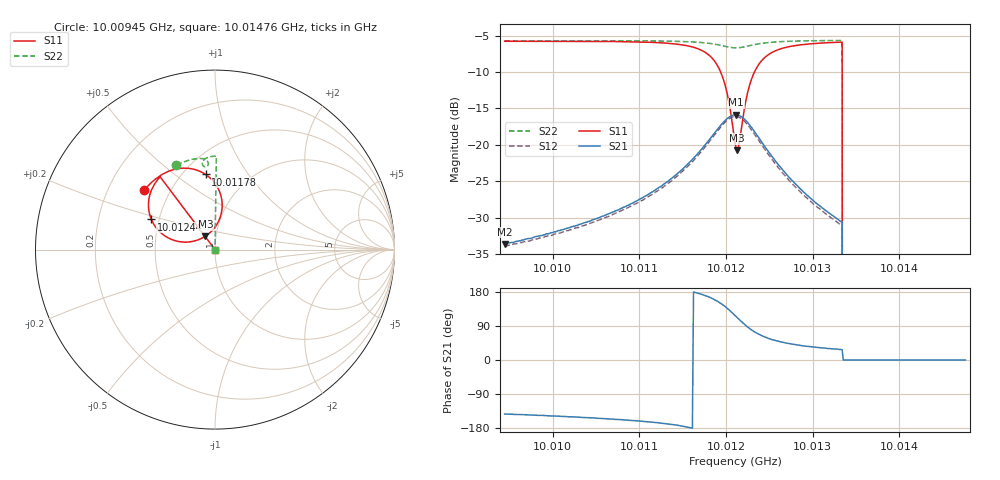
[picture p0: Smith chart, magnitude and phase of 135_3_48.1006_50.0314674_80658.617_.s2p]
#  HZ  S  RI  R  50.00
! Rohde & Schwarz Vector Network Analyzer
! Rohde-Schwarz,ZNB20-2Port,1311601062101988,3.16
! Created: UTC 12/23/2023, 3:48:11 AM
! freq[Hz]  re:S11  im:S11  re:S21  im:S21  re:S12  im:S12  re:S22  im:S22
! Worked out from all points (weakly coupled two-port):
!   401 points, 10.00945 GHz to 10.01476 GHz, reference 50 ohm
!   highest |S21| = -15.87 dB at 10.01212 GHz (marker M1); lowest = -33.6 dB at 10.00945 GHz (marker M2)
!   lowest |S11| = -20.7 dB at 10.01213 GHz (marker M3), VSWR 1.20, Z = 44.4 + j6.68 ohm
!   |S11| at or under -10 dB: 10.01194 GHz to 10.01233 GHz (390 kHz wide, 0.0039 % of centre); 10.01334 GHz to end of sweep
!   |S22| runs from - to -5.7 dB; largest |S21 - S12| = 0.0078
!   S11 on the Smith chart (normalised r, x): 10.00945 GHz: 0.36, +0.32; 10.01178 GHz: 0.64, +0.65; 10.01244 GHz: 0.45, +0.18; 10.01476 GHz: 1.00, +0.00
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1.0009446e10  -0.3937 0.3316  -0.0165 -0.0127  -0.0153 -0.013  -0.2148 0.4712
1.0010336e10  -0.3389 0.3873  -0.0251 -0.0137  -0.0236 -0.0144  -0.1596 0.4936
1.0011226e10  -0.2377 0.4435  -0.0493 -0.0125  -0.0467 -0.0143  -0.0974 0.5075
1.0011545e10  -0.1585 0.4537  -0.0722 -0.0042  -0.0693 -0.00785  -0.0701 0.507
1.0011784e10  -0.0522 0.4185  -0.102 0.0215  -0.0998 0.0156  -0.0475 0.4979
1.0011891e10  0.00698 0.3588  -0.1147 0.0506  -0.1142 0.0431  -0.0391 0.4874
1.001197e10  0.0378 0.2777  -0.1163 0.0832  -0.1171 0.0755  -0.0371 0.4764
1.0012024e10  0.036 0.2069  -0.1072 0.1092  -0.1094 0.1019  -0.0398 0.4686
1.0012103e10  -0.0206 0.1011  -0.074 0.1428  -0.0777 0.1362  -0.0501 0.4611
1.0012117e10  -0.0364 0.0869  -0.0666 0.1464  -0.0703 0.1398  -0.0523 0.4609
1.001213e10  -0.0537 0.0746  -0.0588 0.1493  -0.0629 0.1429  -0.0545 0.4608
1.0012156e10  -0.0911 0.0554  -0.0433 0.1524  -0.047 0.1466  -0.0589 0.4617
1.0012223e10  -0.1886 0.043  -0.0053 0.1478  -0.00992 0.1426  -0.0673 0.4682
1.0012276e10  -0.2548 0.0624  0.0183 0.1346  0.0126 0.1302  -0.0703 0.4758
1.0012342e10  -0.3128 0.1043  0.0362 0.1142  0.0309 0.1107  -0.0699 0.4852
1.0012435e10  -0.3548 0.1681  0.047 0.0878  0.0417 0.0855  -0.0649 0.4961
1.0012675e10  -0.3677 0.2842  0.0454 0.0464  0.0412 0.0462  -0.0447 0.5112
1.0012993e10  -0.339 0.3613  0.0344 0.0239  0.0318 0.0242  -0.0185 0.5186
1.0013312e10  -0.3082 0.4026  0.0266 0.0139  0.0244 0.0147  0.00558 0.5212
1.0013379e10  0 0  0 0  0 0  0 0
1.0013884e10  0 0  0 0  0 0  0 0
1.001476e10  0 0  0 0  0 0  0 0
